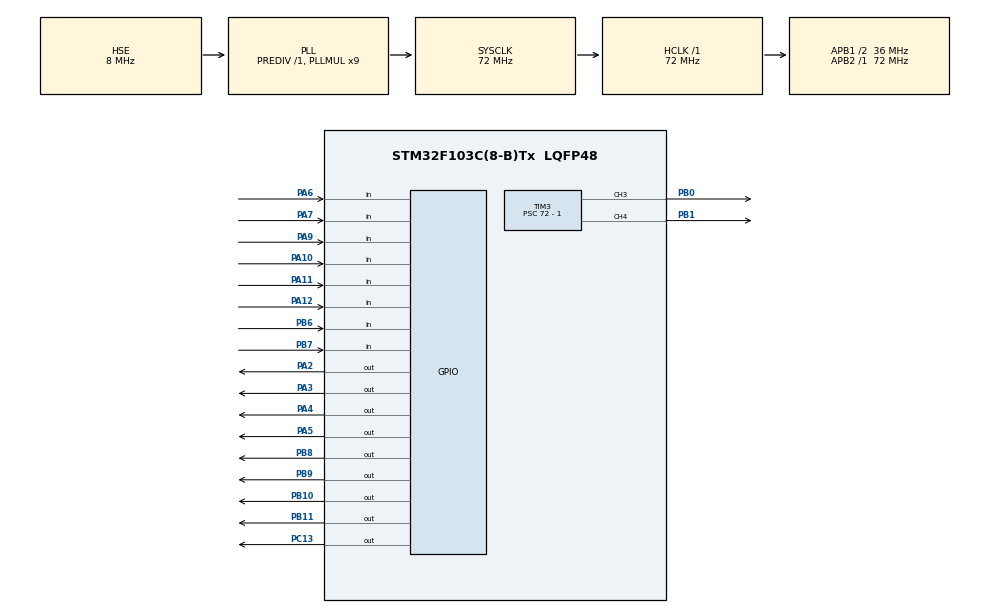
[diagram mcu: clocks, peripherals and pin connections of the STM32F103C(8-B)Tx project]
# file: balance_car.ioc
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Mcu.Family=STM32F1
Mcu.Name=STM32F103C(8-B)Tx
Mcu.Package=LQFP48
NVIC.PriorityGroup=NVIC_PRIORITYGROUP_4
NVIC.TIM3_IRQn=true\:0\:0\:false\:false\:true\:true\:true\:true
NVIC.TIM4_IRQn=true\:0\:0\:false\:false\:true\:true\:true\:true
PA10.GPIO_PuPd=GPIO_PULLUP
PA10.Signal=GPIO_Input
PA11.GPIO_PuPd=GPIO_PULLUP
PA11.Signal=GPIO_Input
PA12.GPIO_PuPd=GPIO_PULLUP
PA12.Signal=GPIO_Input
PA13.Mode=Serial_Wire
PA13.Signal=SYS_JTMS-SWDIO
PA14.Mode=Serial_Wire
PA14.Signal=SYS_JTCK-SWCLK
PA2.GPIO_PuPd=GPIO_PULLUP
PA2.GPIO_Speed=GPIO_SPEED_FREQ_HIGH
PA2.Signal=GPIO_Output
PA3.GPIO_PuPd=GPIO_PULLUP
PA3.GPIO_Speed=GPIO_SPEED_FREQ_HIGH
PA3.Signal=GPIO_Output
PA4.GPIO_PuPd=GPIO_PULLUP
PA4.GPIO_Speed=GPIO_SPEED_FREQ_HIGH
PA4.Signal=GPIO_Output
PA5.GPIO_PuPd=GPIO_PULLUP
PA5.GPIO_Speed=GPIO_SPEED_FREQ_HIGH
PA5.Signal=GPIO_Output
PA6.GPIO_Mode=GPIO_MODE_INPUT
PA6.Signal=GPIO_Input
PA7.GPIO_Mode=GPIO_MODE_INPUT
PA7.Signal=GPIO_Input
PA9.GPIO_PuPd=GPIO_PULLUP
PA9.Signal=GPIO_Input
PB0.Signal=S_TIM3_CH3
PB1.Signal=S_TIM3_CH4
PB10.GPIO_ModeDefaultOutputPP=GPIO_MODE_OUTPUT_OD
PB10.GPIO_PuPd=GPIO_NOPULL
PB10.GPIO_Speed=GPIO_SPEED_FREQ_HIGH
PB10.PinState=GPIO_PIN_SET
PB10.Signal=GPIO_Output
PB11.GPIO_ModeDefaultOutputPP=GPIO_MODE_OUTPUT_OD
PB11.GPIO_PuPd=GPIO_NOPULL
PB11.GPIO_Speed=GPIO_SPEED_FREQ_HIGH
PB11.PinState=GPIO_PIN_SET
PB11.Signal=GPIO_Output
PB6.GPIO_PuPd=GPIO_NOPULL
PB6.Signal=GPIO_Input
PB7.GPIO_PuPd=GPIO_NOPULL
PB7.Signal=GPIO_Input
PB8.GPIO_ModeDefaultOutputPP=GPIO_MODE_OUTPUT_PP
PB8.GPIO_PuPd=GPIO_PULLUP
PB8.GPIO_Speed=GPIO_SPEED_FREQ_HIGH
PB8.PinState=GPIO_PIN_SET
PB8.Signal=GPIO_Output
PB9.GPIO_ModeDefaultOutputPP=GPIO_MODE_OUTPUT_PP
PB9.GPIO_PuPd=GPIO_PULLUP
PB9.GPIO_Speed=GPIO_SPEED_FREQ_HIGH
PB9.PinState=GPIO_PIN_SET
PB9.Signal=GPIO_Output
PC13-TAMPER-RTC.GPIO_Speed=GPIO_SPEED_FREQ_HIGH
PC13-TAMPER-RTC.PinState=GPIO_PIN_SET
PC13-TAMPER-RTC.Signal=GPIO_Output
PD0-OSC_IN.Mode=HSE-External-Oscillator
PD0-OSC_IN.Signal=RCC_OSC_IN
PD1-OSC_OUT.Mode=HSE-External-Oscillator
PD1-OSC_OUT.Signal=RCC_OSC_OUT
ProjectManager.HeapSize=0x200
ProjectManager.StackSize=0x400
ProjectManager.TargetToolchain=MDK-ARM V5.32
RCC.AHBFreq_Value=72000000
RCC.APB1CLKDivider=RCC_HCLK_DIV2
RCC.APB1Freq_Value=36000000
RCC.APB1TimFreq_Value=72000000
RCC.APB2Freq_Value=72000000
RCC.APB2TimFreq_Value=72000000
RCC.HCLKFreq_Value=72000000
RCC.PLLMUL=RCC_PLL_MUL9
RCC.PLLSourceVirtual=RCC_PLLSOURCE_HSE
RCC.SYSCLKFreq_VALUE=72000000
RCC.SYSCLKSource=RCC_SYSCLKSOURCE_PLLCLK
RCC.USBFreq_Value=72000000
SH.S_TIM3_CH3.0=TIM3_CH3,PWM Generation3 CH3
SH.S_TIM3_CH4.0=TIM3_CH4,PWM Generation4 CH4
TIM3.AutoReloadPreload=TIM_AUTORELOAD_PRELOAD_ENABLE
TIM3.Channel-PWM\ Generation3\ CH3=TIM_CHANNEL_3
TIM3.Channel-PWM\ Generation4\ CH4=TIM_CHANNEL_4
TIM3.Period=1000 - 1
TIM3.Prescaler=72 - 1
TIM4.AutoReloadPreload=TIM_AUTORELOAD_PRELOAD_ENABLE
TIM4.Period=100 - 1
TIM4.Prescaler=720 - 1
VP_TIM3_VS_ClockSourceINT.Mode=Internal
VP_TIM4_VS_ClockSourceINT.Mode=Internal
board=custom

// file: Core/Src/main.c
/* USER CODE BEGIN Header */
/**
  ******************************************************************************
  * @file           : main.c
  * @brief          : Main program body
  ******************************************************************************
  * @attention
  *
  * Copyright (c) 2025 STMicroelectronics.
  * All rights reserved.
  *
  * This software is licensed under terms that can be found in the LICENSE file
  * in the root directory of this software component.
  * If no LICENSE file comes with this software, it is provided AS-IS.
  *
  ******************************************************************************
  */
/* USER CODE END Header */
#include "main.h"
#include "tim.h"
#include "gpio.h"

/* USER CODE BEGIN Includes */
#include <stdbool.h>
#include "motor.h"
#include "key.h"
#include "menu.h"
#include "encoder.h"
#include "oled.h"
#include "mpu6050.h"
#include "MyIIC.h"
#include "OLED.h"
#include "PID.h"
/* USER CODE END Includes */

void SystemClock_Config(void);

/* USER CODE BEGIN 0 */
bool start_flag = false;
bool debug_flag = false;

int16_t L_speed = 0;
int16_t R_speed = 0;

uint8_t cur_LA, cur_LB, pre_LA, pre_LB;
uint8_t cur_RA, cur_RB, pre_RA, pre_RB;

int16_t L_loc = 0, R_loc = 0;

float out_l = 0, out_r = 0;
float target_l = 0, target_r = 0;
float angle = 0;

uint8_t level = 1;

uint8_t num = 1;

infor MPU6050;
/* USER CODE END 0 */

int main(void)
{

  /* MCU Configuration--------------------------------------------------------*/

  /* Reset of all peripherals, Initializes the Flash interface and the Systick. */
  HAL_Init();

  /* Configure the system clock */
  SystemClock_Config();

  /* USER CODE BEGIN SysInit */
  OLED_Init();
  MPU6050_Init();
  HAL_Delay(50);
  Menu_Init();
  HAL_Delay(500);
  /* USER CODE END SysInit */

  /* Initialize all configured peripherals */
  MX_GPIO_Init();
  MX_TIM3_Init();
  MX_TIM4_Init();
  /* USER CODE BEGIN 2 */
  HAL_TIM_Base_Start_IT(&htim4);
  HAL_TIM_Base_Start_IT(&htim3);
  HAL_TIM_PWM_Start(&htim3, TIM_CHANNEL_3);
  HAL_TIM_PWM_Start(&htim3, TIM_CHANNEL_4);
  /* USER CODE END 2 */

  /* Infinite loop */
  while (1)
  {

    /* USER CODE BEGIN 3 */
    MPU6050_GetData(&MPU6050);
    MPU6050_AttitudeEstimation();
    if (start_flag) {
      if (pitch_a >= 70 || pitch_a <= -70) {
        start_flag = !start_flag;
        HAL_GPIO_TogglePin(GPIOC, GPIO_PIN_13);
      }
    } else {
      Motor_Stop();
    }

  }
  /* USER CODE END 3 */
}

void SystemClock_Config(void)
{
  RCC_OscInitTypeDef RCC_OscInitStruct = {0};
  RCC_ClkInitTypeDef RCC_ClkInitStruct = {0};

  /** Initializes the RCC Oscillators according to the specified parameters
  * in the RCC_OscInitTypeDef structure.
  */
  RCC_OscInitStruct.OscillatorType = RCC_OSCILLATORTYPE_HSE;
  RCC_OscInitStruct.HSEState = RCC_HSE_ON;
  RCC_OscInitStruct.HSEPredivValue = RCC_HSE_PREDIV_DIV1;
  RCC_OscInitStruct.HSIState = RCC_HSI_ON;
  RCC_OscInitStruct.PLL.PLLState = RCC_PLL_ON;
  RCC_OscInitStruct.PLL.PLLSource = RCC_PLLSOURCE_HSE;
  RCC_OscInitStruct.PLL.PLLMUL = RCC_PLL_MUL9;
  if (HAL_RCC_OscConfig(&RCC_OscInitStruct) != HAL_OK)
  {
    Error_Handler();
  }

  /** Initializes the CPU, AHB and APB buses clocks
  */
  RCC_ClkInitStruct.ClockType = RCC_CLOCKTYPE_HCLK|RCC_CLOCKTYPE_SYSCLK
                              |RCC_CLOCKTYPE_PCLK1|RCC_CLOCKTYPE_PCLK2;
  RCC_ClkInitStruct.SYSCLKSource = RCC_SYSCLKSOURCE_PLLCLK;
  RCC_ClkInitStruct.AHBCLKDivider = RCC_SYSCLK_DIV1;
  RCC_ClkInitStruct.APB1CLKDivider = RCC_HCLK_DIV2;
  RCC_ClkInitStruct.APB2CLKDivider = RCC_HCLK_DIV1;

  if (HAL_RCC_ClockConfig(&RCC_ClkInitStruct, FLASH_LATENCY_2) != HAL_OK)
  {
    Error_Handler();
  }
}

/* USER CODE BEGIN 4 */
void HAL_TIM_PeriodElapsedCallback(TIM_HandleTypeDef *htim)
{
	if (htim->Instance == TIM4) {           //TIM4 to check button state
		static uint8_t cnt = 0;
    static bool first_in = true;
		cnt++;
    //MPU6050_AttitudeEstimation();
		if (cnt >= 5) {
      num = Key_ActionPan();             //判断按键状态
      if (start_flag) {
        if (first_in) {
          OLED_Clear();
          first_in = false;
        }
        Menu_Page2(num);
      } else {
        if (!first_in) {
          OLED_Clear();
          first_in = true;
        }
        Menu_Main(num);
      }
      cnt = 0;
		}
	} else if (htim->Instance == TIM3) {    //TIM3 to catch encoder speed
		if (start_flag) {                     //每1ms进一次定时器3
		  PID_Balance(angle);
		  Motor_SetSpeed(Lmotor, target_l);
		  Motor_SetSpeed(Rmotor, target_r);
		} else {
		  PID_Clear();
		}
	}
}

/* USER CODE END 4 */

void Error_Handler(void)
{
  __disable_irq();
  while (1)
  {
  }
}
